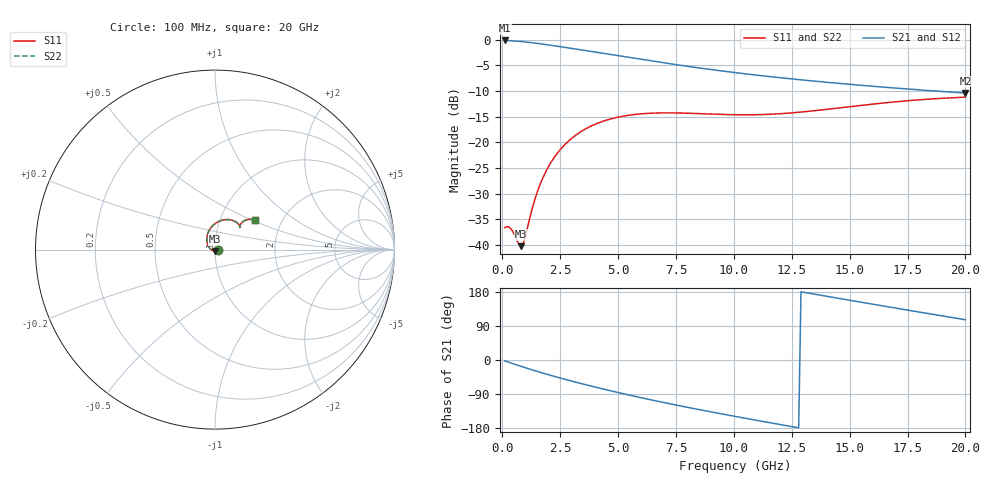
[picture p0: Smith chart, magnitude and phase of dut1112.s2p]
! Touchstone file exported from HFSS 2024.1.0
!  File:  C:/UserFiles/LocalFiles/RDL_TSV_Batchsim/temp_RDL_TSV_1112_1780103644.aedt
!  Generated:  09:23:22 AM May 30, 2026
!  Design:  RDL_TSV
!  Project:  temp_RDL_TSV_1112_1780103644
!  Setup:  Setup1
!  Solution:  Sweep
! Variables:
!  dtsv = 12.88um
!  hbump = 3um
!  htsv = 63.62um
!  ldown = 672.62um
!  lrdl = 490.54um
!  p = 40
!  p1 = 44.09um
!  rhole = 10um
!  subl = 3980.02um
!  t = 450um
!  tdown = 3.44um
!  trdl = 4.82um
!  viad = 10um
!  wdown = 25.86um
!  wrdl = 23.78um
!  xbump = 18um
# GHz S MA R 50.000000
! Terminal data exported
! Port[1] = TM1_1_T1
! Port[2] = TM1_4_T1
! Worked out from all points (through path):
!   200 points, 100 MHz to 20 GHz, reference 50 ohm
!   highest |S21| = -0.13 dB at 100 MHz (marker M1); lowest = -10.4 dB at 20 GHz (marker M2)
!   group delay of S21, straight-line fit = 33.6 ps
!   lowest |S11| = -40.2 dB at 800 MHz (marker M3), VSWR 1.02, Z = 49.9 - j0.967 ohm
!   |S11| at or under -10 dB: start of sweep to end of sweep
!   |S22| runs from -40.2 to -11.2 dB; largest |S21 - S12| = 1.1e-14
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0.1  0.01475 -2.9  0.9846 -2.2  0.9846 -2.2  0.01475 -2.9
! Gamma 0 0 0 0
! Port Impedance 50 0 50 0
0.3  0.01489 -17.0  0.9799 -6.4  0.9799 -6.4  0.01489 -17.0
0.4  0.01411 -26.9  0.977 -8.5  0.977 -8.5  0.01411 -26.9
0.7  0.0103 -71.7  0.9661 -14.6  0.9661 -14.6  0.01031 -71.7
0.8  0.009726 -95.0  0.9617 -16.6  0.9617 -16.6  0.009731 -94.9
0.9  0.01031 -120.2  0.9569 -18.5  0.9569 -18.5  0.01031 -120.0
1  0.0122 -142.4  0.9518 -20.5  0.9518 -20.5  0.01219 -142.2
1.3  0.02297 177.6  0.9349 -26.3  0.9349 -26.3  0.02293 177.7
1.5  0.03228 162.7  0.9226 -30.0  0.9226 -30.0  0.03222 162.8
1.9  0.05291 142.5  0.8967 -37.2  0.8967 -37.2  0.05282 142.6
2.2  0.06896 131.2  0.8768 -42.4  0.8768 -42.4  0.06884 131.2
2.6  0.08993 118.7  0.8501 -49.2  0.8501 -49.2  0.08978 118.7
3.5  0.1315 96.8  0.7912 -63.6  0.7912 -63.6  0.1313 96.8
4.9  0.1741 72.7  0.7051 -84.4  0.7051 -84.4  0.1738 72.7
5.8  0.1878 61.6  0.6546 -96.9  0.6546 -96.9  0.1875 61.6
6.8  0.1935 52.5  0.6038 -110.0  0.6038 -110.0  0.1932 52.5
8.4  0.1909 43.9  0.535 -129.7  0.535 -129.7  0.1906 43.9
10.1  0.1857 41.5  0.477 -149.3  0.477 -149.3  0.1854 41.5
11.7  0.1885 42.9  0.4338 -167.1  0.4338 -167.1  0.1882 42.9
13.4  0.2025 44.8  0.3967 174.6  0.3967 174.6  0.2022 44.8
16.7  0.2448 43.0  0.3419 139.9  0.3419 139.9  0.2444 43.0
20  0.2756 36.2  0.3025 106.2  0.3025 106.2  0.2751 36.1
